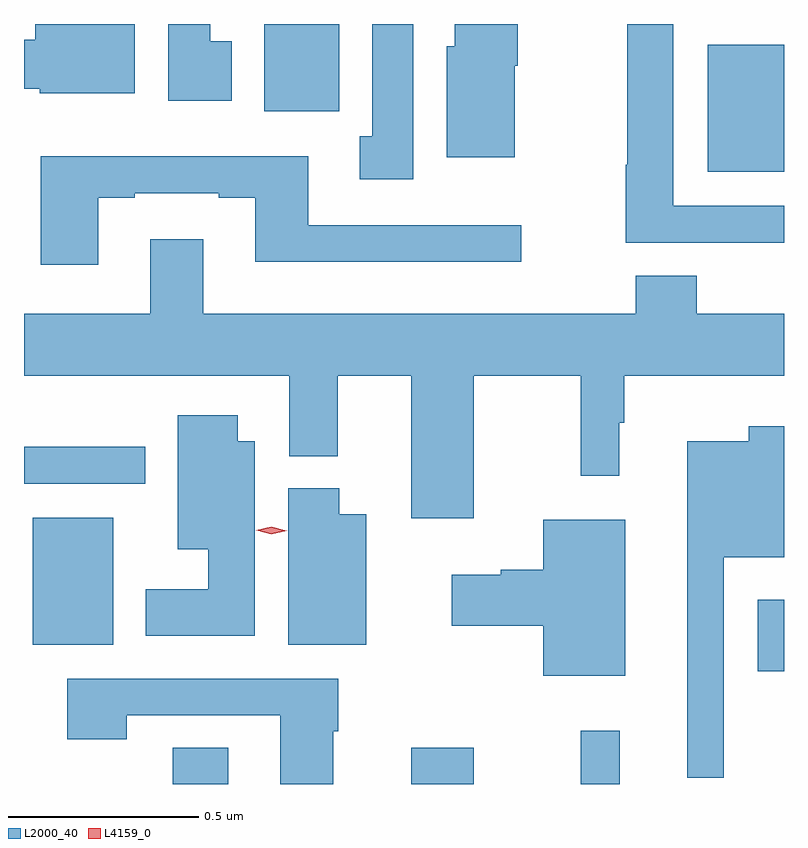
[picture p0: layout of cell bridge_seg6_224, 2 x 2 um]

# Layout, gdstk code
import gdstk
lib = gdstk.Library(unit=1e-6, precision=1e-09)
def R(c, l, rs):  # rectangles x0, y0, x1, y1
    for r in rs: c.add(gdstk.rectangle(r[:2], r[2:], *l))
def P(c, l, *ps):  # polygons
    for p in ps: c.add(gdstk.Polygon(p, *l))
L2000_40 = (2000, 40)
L4159_0 = (4159, 0)

bridge_seg6_224 = lib.new_cell('bridge_seg6_224')
R(bridge_seg6_224, L2000_40, [(128.416,976.898,128.563,976.994), (129.044,976.898,129.208,976.993), (129.49,976.898,129.593,977.038), (129.956,977.195,130.025,977.383), (128.048,977.264,128.26,977.599), (128.025,977.688,128.344,977.786), (129.824,978.509,130.025,978.844), (128.657,978.668,128.854,978.898)])
P(bridge_seg6_224, L2000_40, [(130.025,978.42),(129.733,978.42),(129.733,978.898),(129.613,978.898),(129.613,978.527),(129.608,978.527),(129.608,978.323),(130.025,978.323)],
  [(129.049,978.898),(128.942,978.898),(128.942,978.602),(128.909,978.602),(128.909,978.489),(129.049,978.489)],
  [(129.316,978.788),(129.324,978.788),(129.324,978.898),(129.158,978.898),(129.158,978.84),(129.137,978.84),(129.137,978.548),(129.316,978.548)],
  [(128.317,978.898),(128.054,978.898),(128.054,978.856),(128.025,978.856),(128.025,978.727),(128.066,978.727),(128.066,978.716),(128.317,978.716)],
  [(128.572,978.852),(128.515,978.852),(128.515,978.898),(128.405,978.898),(128.405,978.696),(128.572,978.696)],
  [(128.221,978.441),(128.317,978.441),(128.317,978.453),(128.537,978.453),(128.537,978.441),(128.633,978.441),(128.633,978.272),(129.334,978.272),(129.334,978.369),(128.773,978.369),(128.773,978.55),(128.069,978.55),(128.069,978.264),(128.221,978.264)],
  [(129.208,977.972),(129.49,977.972),(129.49,977.709),(129.592,977.709),(129.592,977.849),(129.604,977.849),(129.604,977.972),(130.025,977.972),(130.025,978.136),(129.795,978.136),(129.795,978.235),(129.635,978.235),(129.635,978.136),(128.497,978.136),(128.497,978.331),(128.357,978.331),(128.357,978.136),(128.025,978.136),(128.025,977.972),(128.723,977.972),(128.723,977.761),(128.851,977.761),(128.851,977.972),(129.044,977.972),(129.044,977.598),(129.208,977.598)],
  [(128.632,977.8),(128.587,977.8),(128.587,977.869),(128.429,977.869),(128.429,977.516),(128.51,977.516),(128.51,977.41),(128.345,977.41),(128.345,977.288),(128.632,977.288)],
  [(129.867,977.495),(130.025,977.495),(130.025,977.839),(129.932,977.839),(129.932,977.8),(129.77,977.8),(129.77,976.914),(129.867,976.914)],
  [(128.926,977.608),(128.854,977.608),(128.854,977.676),(128.72,977.676),(128.72,977.264),(128.926,977.264)],
  [(129.607,977.593),(129.392,977.593),(129.392,977.462),(129.279,977.462),(129.279,977.449),(129.15,977.449),(129.15,977.315),(129.392,977.315),(129.392,977.183),(129.607,977.183)],
  [(128.839,977.037),(128.852,977.037),(128.852,977.175),(128.139,977.175),(128.139,977.016),(128.295,977.016),(128.295,977.079),(128.699,977.079),(128.699,976.898),(128.839,976.898)])
P(bridge_seg6_224, L4159_0, [(128.675,977.555),(128.636,977.566),(128.636,977.566),(128.636,977.566),(128.676,977.575),(128.716,977.564),(128.716,977.564),(128.716,977.564)])

lib.write_gds('bridge_seg6_224.gds')
